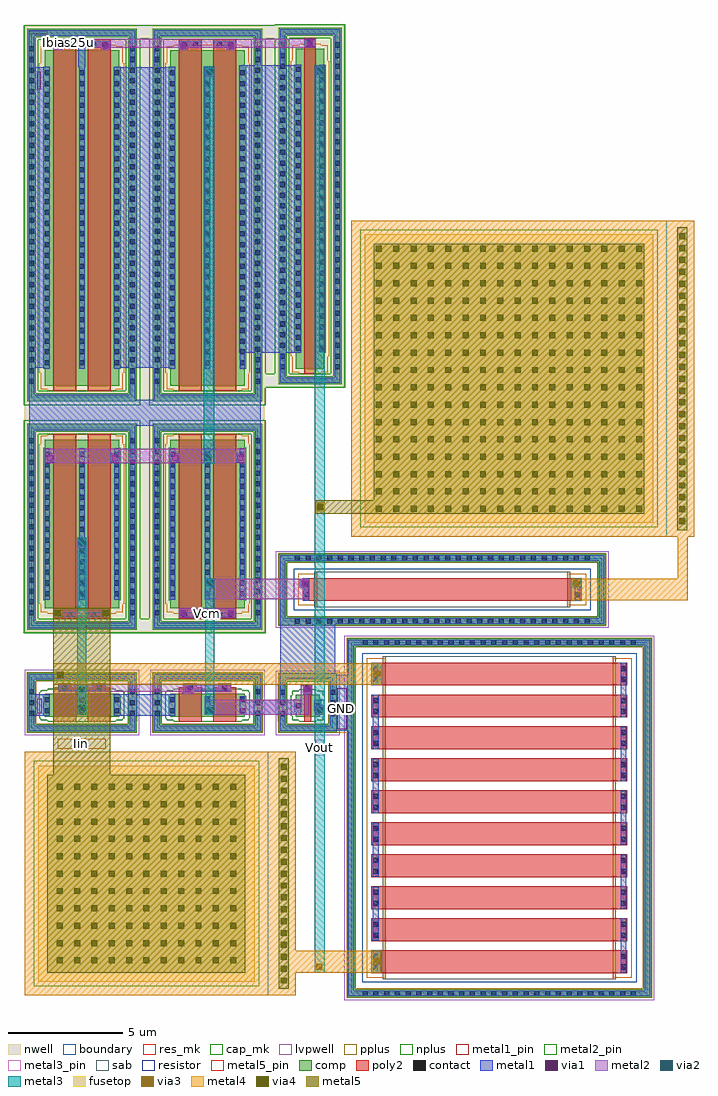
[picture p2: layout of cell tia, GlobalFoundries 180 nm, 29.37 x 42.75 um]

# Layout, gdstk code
from math import pi, radians
import gdstk
lib = gdstk.Library(unit=1e-6, precision=1e-09)
def R(c, l, rs):  # rectangles x0, y0, x1, y1
    for r in rs: c.add(gdstk.rectangle(r[:2], r[2:], *l))
def A(c, l, x, y, w, h, nx, ny, dx, dy):  # array of equal rectangles
    R(c, l, [(x+i*dx, y+j*dy, x+i*dx+w, y+j*dy+h) for i in range(nx) for j in range(ny)])
boundary = (0, 0)
nwell = (21, 0)
comp = (22, 0)
poly2 = (30, 0)
pplus = (31, 0)
nplus = (32, 0)
contact = (33, 0)
metal1 = (34, 0)
metal1_pin = (34, 10)
via1 = (35, 0)
metal2 = (36, 0)
metal2_pin = (36, 10)
via2 = (38, 0)
via3 = (40, 0)
via4 = (41, 0)
metal3 = (42, 0)
metal3_pin = (42, 10)
metal4 = (46, 0)
sab = (49, 0)
resistor = (62, 0)
fusetop = (75, 0)
metal5 = (81, 0)
metal5_pin = (81, 10)
res_mk = (110, 5)
cap_mk = (117, 5)
lvpwell = (204, 0)

nfet_03v3_yzc56h = lib.new_cell('nfet_03v3_YZC56H')
R(nfet_03v3_yzc56h, boundary, [(-2.21,-1.13,2.21,1.13)])
R(nfet_03v3_yzc56h, comp, [(-2.39,-1.31,2.39,-0.95), (-2.39,-0.95,-2.03,0.95), (2.03,-0.95,2.39,0.95), (-1.635,-0.62,1.635,-0.535), (-1.7,-0.535,1.7,0.295), (-1.635,0.295,1.635,0.38), (-2.39,0.95,2.39,1.31)])
R(nfet_03v3_yzc56h, poly2, [(-1.26,-0.84,-0.26,0.66), (0.26,-0.84,1.26,0.66), (-1.045,0.66,-0.475,0.84), (0.475,0.66,1.045,0.84)])
R(nfet_03v3_yzc56h, pplus, [(-2.41,-1.33,2.41,-0.93), (-2.41,-0.93,-2,-0.825), (2,-0.93,2.41,-0.825), (-2.42,-0.825,-2,0.825), (2,-0.825,2.42,0.825), (-2.41,0.825,-2,0.93), (2,0.825,2.41,0.93), (-2.41,0.93,2.41,1.33)])
R(nfet_03v3_yzc56h, nplus, [(-1.49,-0.85,1.49,-0.78), (-1.795,-0.78,1.795,-0.695), (-1.86,-0.695,1.86,0.455), (-1.795,0.455,1.795,0.54), (-1.49,0.54,1.49,0.61)])
A(nfet_03v3_yzc56h, contact, -2.32, -0.58, 0.22, 0.22, 1, 3, 0, 0.47)
A(nfet_03v3_yzc56h, contact, 2.1, -0.58, 0.22, 0.22, 1, 3, 0, 0.47)
A(nfet_03v3_yzc56h, contact, -1.63, -0.465, 0.22, 0.22, 3, 2, 1.52, 0.47)
R(nfet_03v3_yzc56h, contact, [(-0.87,0.55,-0.65,0.77), (0.65,0.55,0.87,0.77)])
A(nfet_03v3_yzc56h, metal1, -1.635, -0.525, 0.23, 0.81, 3, 1, 1.52, 0)
R(nfet_03v3_yzc56h, metal1, [(-2.325,-1.245,2.325,-1.015), (-2.325,-1.015,-2.095,1.015), (2.095,-1.015,2.325,1.015), (-1.035,0.545,-0.485,0.775), (0.485,0.545,1.035,0.775), (-2.325,1.015,2.325,1.245)])
R(nfet_03v3_yzc56h, lvpwell, [(-2.51,-1.43,2.51,1.43)])

pfet_03v3_3rqsa8 = lib.new_cell('pfet_03v3_3RQSA8')
R(pfet_03v3_3rqsa8, boundary, [(-2.21,-7.98,2.21,7.98)])
R(pfet_03v3_3rqsa8, nwell, [(-2.51,-8.28,2.51,8.28)])
R(pfet_03v3_3rqsa8, comp, [(-2.39,-8.16,2.39,-7.8), (-2.39,-7.8,-2.03,7.8), (2.03,-7.8,2.39,7.8), (-1.635,-7.47,1.635,-6.74), (-1.7,-6.74,1.7,6.5), (-1.635,6.5,1.635,7.23), (-2.39,7.8,2.39,8.16)])
R(pfet_03v3_3rqsa8, poly2, [(-1.26,-7.69,-0.26,7.69), (0.26,-7.69,1.26,7.69)])
R(pfet_03v3_3rqsa8, pplus, [(-1.49,-7.7,1.49,-7.63), (-1.795,-7.63,1.795,-6.9), (-1.86,-6.9,1.86,6.66), (-1.795,6.66,1.795,7.39), (-1.49,7.39,1.49,7.46)])
R(pfet_03v3_3rqsa8, nplus, [(-2.55,-8.32,2.55,-7.69), (-2.55,-7.69,-1.92,7.69), (1.92,-7.69,2.55,7.69), (-2.55,7.69,2.55,8.32)])
A(pfet_03v3_3rqsa8, contact, -2.32, -7.395, 0.22, 0.22, 1, 32, 0, 0.47)
A(pfet_03v3_3rqsa8, contact, 2.1, -7.395, 0.22, 0.22, 1, 32, 0, 0.47)
A(pfet_03v3_3rqsa8, contact, -1.63, -6.575, 0.22, 0.22, 3, 28, 1.52, 0.47)
R(pfet_03v3_3rqsa8, contact, [(-1.105,7.4,-0.885,7.62), (-0.635,7.4,-0.415,7.62), (0.415,7.4,0.635,7.62), (0.885,7.4,1.105,7.62)])
A(pfet_03v3_3rqsa8, metal1, -1.635, -6.73, 0.23, 13.22, 3, 1, 1.52, 0)
R(pfet_03v3_3rqsa8, metal1, [(-2.325,-8.095,2.325,-7.865), (-2.325,-7.865,-2.095,7.865), (2.095,-7.865,2.325,7.865), (-1.25,7.395,-0.27,7.625), (0.27,7.395,1.25,7.625), (-2.325,7.865,2.325,8.095)])

pfet_03v3_e22r92 = lib.new_cell('pfet_03v3_E22R92')
R(pfet_03v3_e22r92, boundary, [(-2.21,-4.33,2.21,4.33)])
R(pfet_03v3_e22r92, nwell, [(-2.51,-4.63,2.51,4.63)])
R(pfet_03v3_e22r92, comp, [(-2.39,-4.51,2.39,-4.15), (-2.39,-4.15,-2.03,4.15), (2.03,-4.15,2.39,4.15), (-1.635,-3.58,1.635,-3.215), (-1.7,-3.215,1.7,3.455), (-1.635,3.455,1.635,3.82), (-2.39,4.15,2.39,4.51)])
R(pfet_03v3_e22r92, poly2, [(-1.26,-4.04,-0.26,4.04), (0.26,-4.04,1.26,4.04)])
R(pfet_03v3_e22r92, pplus, [(-1.49,-3.81,1.49,-3.74), (-1.795,-3.74,1.795,-3.375), (-1.86,-3.375,1.86,3.615), (-1.795,3.615,1.795,3.98), (-1.49,3.98,1.49,4.05)])
R(pfet_03v3_e22r92, nplus, [(-2.55,-4.67,2.55,-4.04), (-2.55,-4.04,-1.92,4.04), (1.92,-4.04,2.55,4.04), (-2.55,4.04,2.55,4.67)])
A(pfet_03v3_e22r92, contact, -2.32, -3.87, 0.22, 0.22, 1, 17, 0, 0.47)
A(pfet_03v3_e22r92, contact, 2.1, -3.87, 0.22, 0.22, 1, 17, 0, 0.47)
A(pfet_03v3_e22r92, contact, -1.63, -3.045, 0.22, 0.22, 3, 14, 1.52, 0.47)
R(pfet_03v3_e22r92, contact, [(-1.105,-3.97,-0.885,-3.75), (-0.635,-3.97,-0.415,-3.75), (0.415,-3.97,0.635,-3.75), (0.885,-3.97,1.105,-3.75)])
A(pfet_03v3_e22r92, metal1, -1.635, -3.205, 0.23, 6.65, 3, 1, 1.52, 0)
R(pfet_03v3_e22r92, metal1, [(-2.325,-4.445,2.325,-4.215), (-2.325,-4.215,-2.095,4.215), (2.095,-4.215,2.325,4.215), (-1.25,-3.975,-0.27,-3.745), (0.27,-3.975,1.25,-3.745), (-2.325,4.215,2.325,4.445)])

ppolyf_u_1k_4zcdxz = lib.new_cell('ppolyf_u_1k_4ZCDXZ')
R(ppolyf_u_1k_4zcdxz, boundary, [(-1.38,-6.99,1.38,6.99)])
R(ppolyf_u_1k_4zcdxz, comp, [(-1.56,-7.17,1.56,-6.81), (-1.56,-6.81,-1.2,6.81), (1.2,-6.81,1.56,6.81), (-1.56,6.81,1.56,7.17)])
R(ppolyf_u_1k_4zcdxz, poly2, [(-0.5,-6.11,0.5,6.11)])
R(ppolyf_u_1k_4zcdxz, pplus, [(-1.58,-7.19,1.58,-6.79), (-1.58,-6.79,-1.17,-6.685), (1.17,-6.79,1.58,-6.685), (-1.59,-6.685,-1.17,6.685), (1.17,-6.685,1.59,6.685), (-0.7,-6.31,0.7,-5.5), (-0.7,5.5,0.7,6.31), (-1.58,6.685,-1.17,6.79), (1.17,6.685,1.58,6.79), (-1.58,6.79,1.58,7.19)])
A(ppolyf_u_1k_4zcdxz, contact, -1.49, -6.455, 0.22, 0.22, 1, 28, 0, 0.47)
A(ppolyf_u_1k_4zcdxz, contact, 1.27, -6.455, 0.22, 0.22, 1, 28, 0, 0.47)
R(ppolyf_u_1k_4zcdxz, contact, [(-0.345,-6.04,-0.125,-5.82), (0.125,-6.04,0.345,-5.82), (-0.345,5.82,-0.125,6.04), (0.125,5.82,0.345,6.04)])
R(ppolyf_u_1k_4zcdxz, metal1, [(-1.495,-7.105,1.495,-6.875), (-1.495,-6.875,-1.265,6.875), (1.265,-6.875,1.495,6.875), (-0.49,-6.045,0.49,-5.815), (-0.49,5.815,0.49,6.045), (-1.495,6.875,1.495,7.105)])
R(ppolyf_u_1k_4zcdxz, sab, [(-0.78,-5.6,0.78,5.6), (-0.78,-5.5,0.78,5.5)])
R(ppolyf_u_1k_4zcdxz, resistor, [(-0.9,-6.51,0.9,6.51)])
R(ppolyf_u_1k_4zcdxz, res_mk, [(-0.78,-5.5,0.78,5.5), (-0.5,-5.5,0.5,5.5)])
R(ppolyf_u_1k_4zcdxz, lvpwell, [(-1.68,-7.29,1.68,7.29)])

pfet_03v3_mlzxnu = lib.new_cell('pfet_03v3_MLZXNU')
R(pfet_03v3_mlzxnu, boundary, [(-1.2,-7.63,1.2,7.63)])
R(pfet_03v3_mlzxnu, nwell, [(-1.5,-7.93,1.5,7.93)])
R(pfet_03v3_mlzxnu, comp, [(-1.38,-7.81,1.38,-7.45), (-1.38,-7.45,-1.02,7.45), (1.02,-7.45,1.38,7.45), (-0.625,-7.12,0.625,-6.425), (-0.69,-6.425,0.69,6.185), (-0.625,6.185,0.625,6.88), (-1.38,7.45,1.38,7.81)])
R(pfet_03v3_mlzxnu, poly2, [(-0.25,-7.34,0.25,7.34)])
R(pfet_03v3_mlzxnu, pplus, [(-0.48,-7.35,0.48,-7.28), (-0.785,-7.28,0.785,-6.585), (-0.85,-6.585,0.85,6.345), (-0.785,6.345,0.785,7.04), (-0.48,7.04,0.48,7.11)])
R(pfet_03v3_mlzxnu, nplus, [(-1.54,-7.97,1.54,-7.34), (-1.54,-7.34,-0.91,7.34), (0.91,-7.34,1.54,7.34), (-1.54,7.34,1.54,7.97)])
A(pfet_03v3_mlzxnu, contact, -1.31, -7.16, 0.22, 0.22, 1, 31, 0, 0.47)
A(pfet_03v3_mlzxnu, contact, 1.09, -7.16, 0.22, 0.22, 1, 31, 0, 0.47)
A(pfet_03v3_mlzxnu, contact, -0.62, -6.34, 0.22, 0.22, 1, 27, 0, 0.47)
A(pfet_03v3_mlzxnu, contact, 0.4, -6.34, 0.22, 0.22, 1, 27, 0, 0.47)
R(pfet_03v3_mlzxnu, contact, [(-0.11,7.05,0.11,7.27)])
R(pfet_03v3_mlzxnu, metal1, [(-1.315,-7.745,1.315,-7.515), (-1.315,-7.515,-1.085,7.515), (1.085,-7.515,1.315,7.515), (-0.625,-6.415,-0.395,6.175), (0.395,-6.415,0.625,6.175), (-0.24,7.045,0.24,7.275), (-1.315,7.515,1.315,7.745)])

nfet_03v3_fpekwk = lib.new_cell('nfet_03v3_FPEKWK')
R(nfet_03v3_fpekwk, boundary, [(-1.1,-1.115,1.1,1.115)])
R(nfet_03v3_fpekwk, comp, [(-1.28,-1.295,1.28,-0.935), (-1.28,-0.935,-0.92,0.935), (0.92,-0.935,1.28,0.935), (-0.525,-0.605,0.525,-0.395), (-0.59,-0.395,0.59,0.155), (-0.525,0.155,0.525,0.365), (-1.28,0.935,1.28,1.295)])
R(nfet_03v3_fpekwk, poly2, [(-0.15,-0.825,0.15,0.465), (-0.18,0.465,0.18,0.825)])
R(nfet_03v3_fpekwk, pplus, [(-1.3,-1.315,1.3,-0.915), (-1.3,-0.915,-0.89,-0.81), (0.89,-0.915,1.3,-0.81), (-1.31,-0.81,-0.89,0.81), (0.89,-0.81,1.31,0.81), (-1.3,0.81,-0.89,0.915), (0.89,0.81,1.3,0.915), (-1.3,0.915,1.3,1.315)])
R(nfet_03v3_fpekwk, nplus, [(-0.38,-0.835,0.38,-0.765), (-0.685,-0.765,0.685,-0.555), (-0.75,-0.555,0.75,0.315), (-0.685,0.315,0.685,0.525), (-0.38,0.525,0.38,0.595)])
A(nfet_03v3_fpekwk, contact, -1.21, -0.58, 0.22, 0.22, 1, 3, 0, 0.47)
A(nfet_03v3_fpekwk, contact, 0.99, -0.58, 0.22, 0.22, 1, 3, 0, 0.47)
R(nfet_03v3_fpekwk, contact, [(-0.52,-0.23,-0.3,-0.01), (0.3,-0.23,0.52,-0.01), (-0.11,0.535,0.11,0.755)])
R(nfet_03v3_fpekwk, metal1, [(-1.215,-1.23,1.215,-1), (-1.215,-1,-0.985,0.985), (0.985,-1,1.215,0.985), (-0.525,-0.385,-0.295,0.145), (0.295,-0.385,0.525,0.145), (-0.17,0.53,0.17,0.76), (-1.215,0.985,-0.95,1.035), (0.95,0.985,1.215,1.035), (-1.215,1.035,1.215,1.23), (-1.2,1.23,1.2,1.285)])
R(nfet_03v3_fpekwk, lvpwell, [(-1.4,-1.415,1.4,1.415)])

cap_mim_2p0ff_lh4duq = lib.new_cell('cap_mim_2p0fF_LH4DUQ')
R(cap_mim_2p0ff_lh4duq, boundary, [(-7.515,-6.915,6.315,6.915)])
A(cap_mim_2p0ff_lh4duq, via4, 6.855, -6.37, 0.26, 0.26, 1, 25, 0, 0.52)
A(cap_mim_2p0ff_lh4duq, via4, -6.43, -5.83, 0.26, 0.26, 16, 16, 0.76, 0.76)
R(cap_mim_2p0ff_lh4duq, metal4, [(-7.515,-6.915,7.515,6.915)])
R(cap_mim_2p0ff_lh4duq, fusetop, [(-6.915,-6.315,5.715,6.315)])
R(cap_mim_2p0ff_lh4duq, metal5, [(6.765,-6.63,7.205,6.63), (-6.515,-5.915,5.315,5.915)])
R(cap_mim_2p0ff_lh4duq, cap_mk, [(-7.115,-6.515,5.915,6.515)])

two_stage_miller_larger_ = lib.new_cell('two_stage_miller_larger_forlayout')
R(two_stage_miller_larger_, nwell, [(-5,15,-4.5,24), (-10,24,0.5,25), (-5,25,-4.5,41.35), (0.5,25.75,1,41.35), (-10,41.35,1,41.6)])
R(two_stage_miller_larger_, nplus, [(-4.94,14.96,-4.54,15.59), (0.56,25.71,0.96,26.34), (-4.94,41.01,-4.54,41.6), (0.56,41.01,0.96,41.6)])
R(two_stage_miller_larger_, metal1, [(-9.8,11.35,-8.9,12.3), (-6.1,11.35,-3.4,12.3), (-7.7,11.4,-7.3,12.45), (-2.1,11.4,-1.7,11.8), (-0.55,11.4,2.1,12.05), (2.7,11.4,3.15,12.05), (-3.05,12.3,-2.65,12.45), (2.2,12.3,2.6,12.7), (-8.5,12.45,-6.45,12.7), (-3.05,12.45,-0.95,12.7), (1.2,13.15,3.6,15.4), (-8.75,15.65,-8.35,16.05), (-6.65,15.65,-6.25,16.05), (-3.25,15.65,-2.85,16.05), (-1.15,15.65,-0.75,16.05), (0.25,16.1,0.3,16.25), (-2.1,16.95,-1.7,17.35), (2.05,16.95,2.45,17.35), (13.95,16.95,14.35,17.35), (-7.7,18.75,-7.3,19.15), (-9.05,22.45,-8.7,22.85), (-6.25,22.45,-5.9,22.85), (-3.55,22.45,-3.2,22.85), (-0.75,22.45,-0.4,22.85), (-9.8,24.05,0.35,25.2), (-9.8,26.6,-8.9,39.75), (-6.1,26.6,-3.4,39.75), (-0.6,27.25,2.1,39.85), (-2.1,39.35,-1.7,39.75), (2.75,39.4,3.1,39.8), (-7.65,39.75,-7.35,40.6), (-8.75,40.5,-8.35,40.6), (-6.65,40.5,-6.25,40.6), (-3.25,40.5,-2.85,40.9), (-1.15,40.5,-0.75,40.9), (-8.75,40.6,-6.25,40.8), (2.25,40.65,2.75,40.95), (-8.75,40.8,-8.35,40.9), (-7.8,40.8,-7.2,40.85), (-6.65,40.8,-6.25,40.9)])
R(two_stage_miller_larger_, metal1_pin, [(-9.45,11.45,-9.25,12.1), (-9.45,38.8,-9.3,39.55)])
R(two_stage_miller_larger_, via1, [(-2.03,11.47,-1.77,11.73), (2.82,11.47,3.08,11.73), (-7.63,11.57,-7.37,11.83), (-7.63,12.37,-7.37,12.63), (-2.98,12.37,-2.72,12.63), (2.27,12.37,2.53,12.63), (-8.68,15.72,-8.42,15.98), (-6.58,15.72,-6.32,15.98), (-3.18,15.72,-2.92,15.98), (-1.08,15.72,-0.82,15.98), (-2.03,17.02,-1.77,17.28), (2.12,17.02,2.38,17.28), (14.02,17.02,14.28,17.28), (-7.63,18.82,-7.37,19.08), (-9.03,22.52,-8.77,22.78), (-6.18,22.52,-5.92,22.78), (-3.53,22.52,-3.27,22.78), (-0.68,22.52,-0.42,22.78), (-2.03,39.42,-1.77,39.68), (2.82,39.47,3.08,39.73), (-8.68,40.57,-8.42,40.83), (-6.58,40.57,-6.32,40.83), (-3.18,40.57,-2.92,40.83), (-1.08,40.57,-0.82,40.83), (2.37,40.67,2.63,40.93)])
R(two_stage_miller_larger_, metal2, [(-7.7,11.4,-7.3,12.4), (-2.1,11.4,2.45,12.05), (2.75,11.4,3.15,11.8), (2.1,12.05,2.45,12.3), (-3.1,12.3,-2.6,12.4), (2.1,12.3,2.6,12.7), (-8.5,12.4,-0.95,12.75), (-8.75,15.65,-6.25,16.05), (-3.25,15.65,-0.75,16.05), (-2.1,16.45,2.45,17.35), (13.95,16.95,14.35,17.35), (-7.7,18.75,-7.3,19.15), (-9.1,22.4,-0.35,23.05), (-2.1,39.35,-1.7,39.75), (2.75,39.4,3.15,39.8), (-8.75,40.5,-8.35,40.6), (-6.65,40.5,-6.25,40.6), (-3.25,40.5,-2.85,40.6), (-1.15,40.5,-0.75,40.6), (-8.75,40.6,2.75,41)])
R(two_stage_miller_larger_, metal2_pin, [(-8.7,15.7,-6.3,16), (-3.2,15.7,-0.8,16), (-8.7,40.65,-6.3,40.95)])
R(two_stage_miller_larger_, via2, [(-2.03,11.47,-1.77,11.73), (2.82,11.47,3.08,11.73), (-7.63,11.57,-7.37,11.83), (-7.63,12.37,-7.37,12.63), (-2.03,17.02,-1.77,17.28), (14.02,17.02,14.28,17.28), (-7.63,18.82,-7.37,19.08), (-2.08,22.52,-1.82,22.78), (-2.03,39.42,-1.77,39.68), (2.82,39.47,3.08,39.73)])
R(two_stage_miller_larger_, via3, [(14.02,17.02,14.28,17.28), (2.82,20.37,3.08,20.63)])
R(two_stage_miller_larger_, via4, [(2.82,20.37,3.08,20.63)])
R(two_stage_miller_larger_, metal3, [(-7.7,11.4,-7.3,19.15), (-2.1,11.4,-1.7,17.35), (2.7,11.4,3.15,39.85), (13.95,16.95,14.35,17.35), (-2.15,22.4,-1.7,39.8)])
R(two_stage_miller_larger_, metal3_pin, [(2.75,39.15,3.1,39.8)])
R(two_stage_miller_larger_, metal4, [(13.95,16.4,19.05,17.35), (18.6,17.35,19.05,19.95), (2.75,20.3,3.15,20.7)])
R(two_stage_miller_larger_, metal5, [(2.7,20.2,5.3,20.8)])
two_stage_miller_larger_.add(gdstk.Reference(nfet_03v3_yzc56h, (-1.99,11.93)))
two_stage_miller_larger_.add(gdstk.Reference(nfet_03v3_yzc56h, (-7.49,11.93)))
two_stage_miller_larger_.add(gdstk.Reference(pfet_03v3_3rqsa8, (-7.49,33.28)))
two_stage_miller_larger_.add(gdstk.Reference(pfet_03v3_3rqsa8, (-1.99,33.28)))
two_stage_miller_larger_.add(gdstk.Reference(pfet_03v3_e22r92, (-1.99,19.63)))
two_stage_miller_larger_.add(gdstk.Reference(pfet_03v3_e22r92, (-7.49,19.63)))
two_stage_miller_larger_.add(gdstk.Reference(ppolyf_u_1k_4zcdxz, (8.29,16.88), rotation=3*pi/2))
two_stage_miller_larger_.add(gdstk.Reference(pfet_03v3_mlzxnu, (2.5,33.68)))
two_stage_miller_larger_.add(gdstk.Reference(nfet_03v3_fpekwk, (2.4,11.915)))
two_stage_miller_larger_.add(gdstk.Reference(cap_mim_2p0ff_lh4duq, (11.815,26.115)))
two_stage_miller_larger_.add(gdstk.Label('Vinn', (-7.5,15.85), layer=36, texttype=10))
two_stage_miller_larger_.add(gdstk.Label('Vinp', (-2,15.85), layer=36, texttype=10))
two_stage_miller_larger_.add(gdstk.Label('Ibias25u', (-7.5,40.8), layer=36, texttype=10))
two_stage_miller_larger_.add(gdstk.Label('VDD', (-9.375,39.175), layer=34, texttype=10))
two_stage_miller_larger_.add(gdstk.Label('GND', (-9.35,11.775), layer=34, texttype=10))
two_stage_miller_larger_.add(gdstk.Label('Vout', (2.925,39.475), layer=42, texttype=10))

ppolyf_u_1k_stt4j9 = lib.new_cell('ppolyf_u_1k_STT4J9')
R(ppolyf_u_1k_stt4j9, boundary, [(-7.68,-6.49,7.68,6.49)])
R(ppolyf_u_1k_stt4j9, comp, [(-7.86,-6.67,7.86,-6.31), (-7.86,-6.31,-7.5,6.31), (7.5,-6.31,7.86,6.31), (-7.86,6.31,7.86,6.67)])
A(ppolyf_u_1k_stt4j9, poly2, -6.8, -5.61, 1, 11.22, 10, 1, 1.4, 0)
R(ppolyf_u_1k_stt4j9, pplus, [(-7.88,-6.69,7.88,-6.29), (-7.88,-6.29,-7.47,-6.185), (7.47,-6.29,7.88,-6.185), (-7.89,-6.185,-7.47,6.185), (7.47,-6.185,7.89,6.185), (-7,-5.81,7,-5), (-7,5,7,5.81), (-7.88,6.185,-7.47,6.29), (7.47,6.185,7.88,6.29), (-7.88,6.29,7.88,6.69)])
A(ppolyf_u_1k_stt4j9, contact, -7.79, -5.985, 0.22, 0.22, 1, 26, 0, 0.47)
A(ppolyf_u_1k_stt4j9, contact, 7.57, -5.985, 0.22, 0.22, 1, 26, 0, 0.47)
R(ppolyf_u_1k_stt4j9, contact, [(-6.645,-5.54,-6.425,-5.32), (-6.175,-5.54,-5.955,-5.32), (-5.245,-5.54,-5.025,-5.32), (-4.775,-5.54,-4.555,-5.32), (-3.845,-5.54,-3.625,-5.32), (-3.375,-5.54,-3.155,-5.32), (-2.445,-5.54,-2.225,-5.32), (-1.975,-5.54,-1.755,-5.32), (-1.045,-5.54,-0.825,-5.32), (-0.575,-5.54,-0.355,-5.32), (0.355,-5.54,0.575,-5.32), (0.825,-5.54,1.045,-5.32), (1.755,-5.54,1.975,-5.32), (2.225,-5.54,2.445,-5.32), (3.155,-5.54,3.375,-5.32), (3.625,-5.54,3.845,-5.32), (4.555,-5.54,4.775,-5.32), (5.025,-5.54,5.245,-5.32), (5.955,-5.54,6.175,-5.32), (6.425,-5.54,6.645,-5.32), (-6.645,5.32,-6.425,5.54), (-6.175,5.32,-5.955,5.54), (-5.245,5.32,-5.025,5.54), (-4.775,5.32,-4.555,5.54), (-3.845,5.32,-3.625,5.54), (-3.375,5.32,-3.155,5.54), (-2.445,5.32,-2.225,5.54), (-1.975,5.32,-1.755,5.54), (-1.045,5.32,-0.825,5.54), (-0.575,5.32,-0.355,5.54), (0.355,5.32,0.575,5.54), (0.825,5.32,1.045,5.54), (1.755,5.32,1.975,5.54), (2.225,5.32,2.445,5.54), (3.155,5.32,3.375,5.54), (3.625,5.32,3.845,5.54), (4.555,5.32,4.775,5.54), (5.025,5.32,5.245,5.54), (5.955,5.32,6.175,5.54), (6.425,5.32,6.645,5.54)])
A(ppolyf_u_1k_stt4j9, metal1, -6.79, -5.545, 0.98, 0.23, 10, 2, 1.4, 10.86)
R(ppolyf_u_1k_stt4j9, metal1, [(-7.795,-6.605,7.795,-6.375), (-7.795,-6.375,-7.565,6.375), (7.565,-6.375,7.795,6.375), (-7.795,6.375,7.795,6.605)])
R(ppolyf_u_1k_stt4j9, sab, [(-7.08,-5.1,7.08,5.1), (-7.08,-5,7.08,5)])
R(ppolyf_u_1k_stt4j9, resistor, [(-7.2,-6.01,7.2,6.01)])
A(ppolyf_u_1k_stt4j9, res_mk, -6.8, -5, 1, 10, 10, 1, 1.4, 0)
R(ppolyf_u_1k_stt4j9, res_mk, [(-7.08,-5,7.08,5)])
R(ppolyf_u_1k_stt4j9, lvpwell, [(-7.98,-6.79,7.98,6.79)])

cap_mim_2p0ff_lnlekv = lib.new_cell('cap_mim_2p0fF_LNLEKV')
R(cap_mim_2p0ff_lnlekv, boundary, [(-5.935,-5.335,4.735,5.335)])
A(cap_mim_2p0ff_lnlekv, via4, 5.275, -4.81, 0.26, 0.26, 1, 19, 0, 0.52)
A(cap_mim_2p0ff_lnlekv, via4, -4.53, -3.93, 0.26, 0.26, 11, 11, 0.76, 0.76)
R(cap_mim_2p0ff_lnlekv, metal4, [(-5.935,-5.335,5.935,5.335)])
R(cap_mim_2p0ff_lnlekv, fusetop, [(-5.335,-4.735,4.135,4.735)])
R(cap_mim_2p0ff_lnlekv, metal5, [(5.185,-5.05,5.625,5.05), (-4.935,-4.335,3.735,4.335)])
R(cap_mim_2p0ff_lnlekv, cap_mk, [(-5.535,-4.935,4.335,4.935)])

tia = lib.new_cell('tia')
R(tia, pplus, [(13.7,0.1,14.1,0.605), (13.71,0.605,14.1,2.225), (13.7,2.225,14.1,2.73)])
A(tia, metal1, 26.1, -10.4, 0.25, 2.35, 1, 5, 0, 2.8)
A(tia, metal1, 15.25, -9, 0.25, 2.35, 1, 4, 0, 2.8)
R(tia, metal1, [(15.25,-10.4,15.65,-9.45), (13.6,0.2,14.2,2.65), (15.25,2.2,15.65,3.15), (0.2,30.7,1,30.85)])
R(tia, metal1_pin, [(13.7,0.25,14.1,2.05), (0.2,30.7,1,30.85)])
R(tia, via1, [(15.32,-10.03,15.58,-9.77), (15.32,2.57,15.58,2.83)])
R(tia, metal2, [(15.25,-10.4,15.65,-9.45), (15.25,2.2,15.65,3.15), (6.75,5.15,9.25,5.55), (1.3,5.2,1.6,5.5), (3.4,5.2,3.7,5.5), (1.3,30.2,2.55,30.45)])
R(tia, metal2_pin, [(6.8,5.2,9.2,5.5), (1.3,30.2,2.55,30.45)])
R(tia, via2, [(15.32,-10.03,15.58,-9.77), (15.32,2.57,15.58,2.83), (1.32,5.22,1.58,5.48), (3.42,5.22,3.68,5.48)])
R(tia, via3, [(12.77,-10.28,13.03,-10.02), (15.32,-10.03,15.58,-9.77), (15.32,2.57,15.58,2.83), (1.32,5.22,1.58,5.48), (3.42,5.22,3.68,5.48)])
R(tia, via4, [(1.42,2.52,1.68,2.78), (1.32,5.22,1.58,5.48), (3.42,5.22,3.68,5.48)])
R(tia, metal3, [(12.7,-10.4,13.15,0.9), (15.25,-10.4,15.65,-9.45), (15.25,2.2,15.65,3.15), (1.25,5.15,1.65,5.55), (3.35,5.15,3.75,5.55)])
R(tia, metal3_pin, [(12.75,-0.9,13.1,-0.2)])
R(tia, metal4, [(11.1,-10.4,15.6,-9.45), (1.25,2.2,15.65,3.15), (1.25,5.15,1.65,5.55), (3.35,5.15,3.75,5.55)])
R(tia, metal5, [(1.25,-4.45,3.75,5.55)])
R(tia, metal5_pin, [(1.45,-0.6,3.55,-0.15)])
tia.add(gdstk.Reference(two_stage_miller_larger_, (10,-10.5)))
tia.add(gdstk.Reference(ppolyf_u_1k_stt4j9, (20.79,-3.62), rotation=3*pi/2))
tia.add(gdstk.Reference(cap_mim_2p0ff_lnlekv, (5.935,-6.065)))
tia.add(gdstk.Label('Vcm', (8,5.35), layer=36, texttype=10))
tia.add(gdstk.Label('Ibias25u', (1.925,30.325), layer=36, texttype=10))
tia.add(gdstk.Label('GND', (13.9,1.15), layer=34, texttype=10))
tia.add(gdstk.Label('VDD', (0.6,30.775), layer=34, texttype=10))
tia.add(gdstk.Label('Vout', (12.925,-0.55), layer=42, texttype=10))
tia.add(gdstk.Label('Iin', (2.5,-0.375), layer=81, texttype=10))

lib.write_gds('tia.gds')
